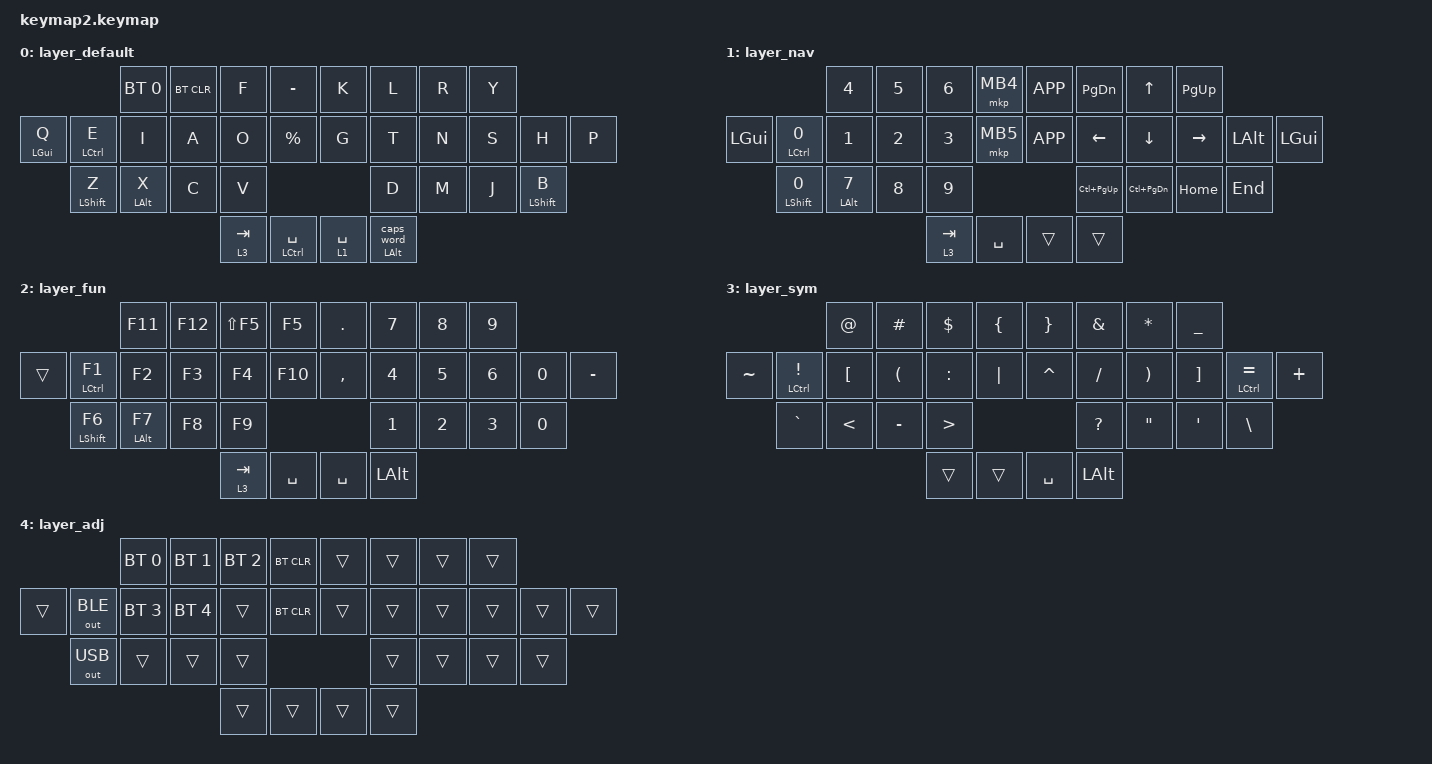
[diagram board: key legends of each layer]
// キーに入力を割り当てる
// 視覚的に編集できるツールは https://o24.works/fish/editor から


// 定義を呼んでくる
#include <behaviors.dtsi>
#include <dt-bindings/zmk/keys.h>
#include <dt-bindings/zmk/mouse.h>
#include <dt-bindings/zmk/bt.h>
#include <dt-bindings/zmk/outputs.h>

// 複合キーの挙動を調整できる

&mt {
    flavor = "tap-preferred";
    tapping-term-ms = <200>;
    quick-tap-ms = <200>;
};

&lt {
    flavor = "balanced";
    tapping-term-ms = <200>;
    quick-tap-ms = <200>;
};

&sk {
    release-after-ms = <1000>;
};

&sl {
    release-after-ms = <1000>;
};


/ {
    // 独自の入力を定義できる（上級者向け）

    behaviors {
        mcap: behavior_mo_tog {
            compatible = "zmk,behavior-hold-tap";
            #binding-cells = <2>;
            flavor = "tap-preferred";
            tapping-term-ms = <200>;
            bindings = <&kp>, <&caps_word>;
        };
    };

    macros {
    };


    // 複数キーの同時押しに特別の入力を設定できる
    // キー番号早見表：
    //       0  1  2  3     4  5  6  7
    // 8  9 10 11 12 13    14 15 16 17 18 19
    //   20 21 22 23          24 25 26 27
    //            28 29    30 31

    combos {
        compatible = "zmk,combos";
        timeout-ms = <100>;

        combo_sl_4 {
            key-positions = <0 1 2>;
            bindings = <&sl 4>;
        };

        combo_esc {
            key-positions = <0 1>;
            bindings = <&kp ESC>;
        };

        combo_mo_2 {
            key-positions = <10 11>;
            bindings = <&mo 2>;
        };

        combo_bspc {
            key-positions = <15 16>;
            bindings = <&kp BSPC>;
        };

        combo_del {
            key-positions = <24 25>;
            bindings = <&kp DEL>;
        };

        combo_ret {
            key-positions = <16 17>;
            bindings = <&kp RET>;
        };

        combo_comma {
            key-positions = <5 15>;
            bindings = <&kp COMMA>;
        };

        combo_dot {
            key-positions = <6 16>;
            bindings = <&kp DOT>;
        };

        combo_semi {
            key-positions = <7 17>;
            bindings = <&kp SEMI>;
        };

        combo_mo_2_2 {
            key-positions = <11 12>;
            bindings = <&mo 2>;
        };
    };
    

    // キーを割り当てる
    // 型（&...）は https://zmk.dev/docs/behaviors/... を参照
    // キーコードは https://zmk.dev/docs/codes/... を参照

    keymap {
        compatible = "zmk,keymap";

        layer_default {
            bindings = <
                        &bt BT_SEL 0  &bt BT_CLR      &kp F       &kp MINUS           &kp K       &kp L       &kp R       &kp Y       
&mt LGUI Q  &mt LCTRL E &kp I       &kp A       &kp O       &kp PRCNT           &kp G       &kp T       &kp N       &kp S       &kp H       &kp P       
            &mt LSHFT Z &mt LALT X  &kp C       &kp V                                       &kp D       &kp M       &kp J       &mt LSHFT B 
                                                &lt 3 TAB   &mt LCTRL SPACE     &lt 1 SPACE &mcap LALT  0
            >;
        };

        layer_nav {
            bindings = <
                        &kp N4      &kp N5      &kp N6      &mkp MB4            &kp K_APP   &kp PG_DN   &kp UP      &kp PG_UP   
&kp LGUI    &mt LCTRL N0 &kp N1     &kp N2      &kp N3      &mkp MB5            &kp K_APP   &kp LEFT    &kp DOWN    &kp RIGHT   &kp LALT    &kp LGUI    
            &mt LSHFT N0 &mt LALT N7 &kp N8     &kp N9                                      &kp LC(PG_UP) &kp LC(PG_DN) &kp HOME &kp END    
                                                &lt 3 TAB   &kp SPACE           &trans      &trans      
            >;
        };

        layer_fun {
            bindings = <
                        &kp F11     &kp F12     &kp LS(F5)  &kp F5              &kp DOT     &kp N7      &kp N8      &kp N9      
&trans      &mt LCTRL F1 &kp F2     &kp F3      &kp F4      &kp F10             &kp COMMA   &kp N4      &kp N5      &kp N6      &kp N0      &kp MINUS   
            &mt LSHFT F6 &mt LALT F7 &kp F8     &kp F9                                      &kp N1      &kp N2      &kp N3      &kp N0      
                                                &lt 3 TAB   &kp SPACE           &kp SPACE   &kp LALT    
            >;
        };

        layer_sym {
            bindings = <
                        &kp AT      &kp HASH    &kp DLLR    &kp LBRC            &kp RBRC    &kp AMPS    &kp STAR    &kp UNDER   
&kp TILDE   &mt LCTRL EXCL &kp LBKT &kp LPAR    &kp COLON   &kp PIPE            &kp CARET   &kp FSLH    &kp RPAR    &kp RBKT    &mt LCTRL EQUAL &kp PLUS 
            &kp GRAVE   &kp LT      &kp MINUS   &kp GT                                      &kp QMARK   &kp DQT     &kp SQT     &kp BSLH    
                                                &trans      &trans              &kp SPACE   &kp LALT    
            >;
        };

        layer_adj {
            bindings = <
                        &bt BT_SEL 0 &bt BT_SEL 1 &bt BT_SEL 2 &bt BT_CLR       &trans      &trans      &trans      &trans      
&trans      &out OUT_BLE &bt BT_SEL 3 &bt BT_SEL 4 &trans   &bt BT_CLR          &trans      &trans      &trans      &trans      &trans      &trans      
            &out OUT_USB &trans     &trans      &trans                                      &trans      &trans      &trans      &trans      
                                                &trans      &trans              &trans      &trans      
            >;
        };
    };
};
